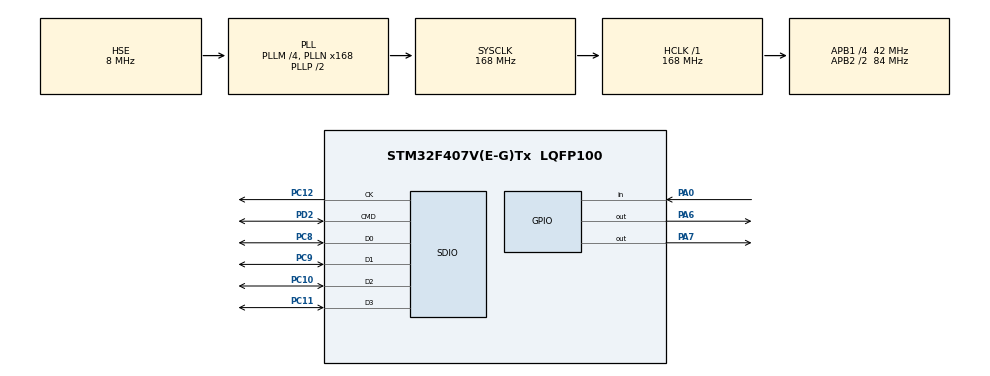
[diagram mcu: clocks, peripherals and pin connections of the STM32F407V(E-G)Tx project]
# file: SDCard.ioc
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FATFS.BSP.number=1
FATFS0.BSP.STBoard=false
FATFS0.BSP.api=Unknown
FATFS0.BSP.instance=PA0-WKUP
FATFS0.BSP.ip=GPIO
FATFS0.BSP.mode=Input
FATFS0.BSP.name=Detect_SDIO
FATFS0.BSP.solution=PA0-WKUP
Mcu.Family=STM32F4
Mcu.Name=STM32F407V(E-G)Tx
Mcu.Package=LQFP100
NVIC.PriorityGroup=NVIC_PRIORITYGROUP_4
NVIC.TIM4_IRQn=true\:0\:0\:false\:false\:true\:true\:true\:true
PA0-WKUP.GPIO_PuPd=GPIO_PULLDOWN
PA0-WKUP.Signal=GPIO_Input
PA13.Mode=JTAG_5_pins
PA13.Signal=SYS_JTMS-SWDIO
PA14.Mode=JTAG_5_pins
PA14.Signal=SYS_JTCK-SWCLK
PA15.Mode=JTAG_5_pins
PA15.Signal=SYS_JTDI
PA6.Signal=GPIO_Output
PA7.PinState=GPIO_PIN_SET
PA7.Signal=GPIO_Output
PB3.Mode=JTAG_5_pins
PB3.Signal=SYS_JTDO-SWO
PB4.Mode=JTAG_5_pins
PB4.Signal=SYS_JTRST
PC10.GPIO_PuPd=GPIO_PULLUP
PC10.GPIO_Speed_High_Default=GPIO_SPEED_FREQ_LOW
PC10.Mode=SD_4_bits_Wide_bus
PC10.Signal=SDIO_D2
PC11.GPIO_PuPd=GPIO_PULLUP
PC11.GPIO_Speed_High_Default=GPIO_SPEED_FREQ_LOW
PC11.Mode=SD_4_bits_Wide_bus
PC11.Signal=SDIO_D3
PC12.GPIO_PuPd=GPIO_NOPULL
PC12.GPIO_Speed_High_Default=GPIO_SPEED_FREQ_LOW
PC12.Mode=SD_4_bits_Wide_bus
PC12.Signal=SDIO_CK
PC8.GPIO_PuPd=GPIO_PULLUP
PC8.GPIO_Speed_High_Default=GPIO_SPEED_FREQ_LOW
PC8.Mode=SD_4_bits_Wide_bus
PC8.Signal=SDIO_D0
PC9.GPIO_PuPd=GPIO_PULLUP
PC9.GPIO_Speed_High_Default=GPIO_SPEED_FREQ_LOW
PC9.Mode=SD_4_bits_Wide_bus
PC9.Signal=SDIO_D1
PD2.GPIO_PuPd=GPIO_PULLUP
PD2.GPIO_Speed_High_Default=GPIO_SPEED_FREQ_LOW
PD2.Mode=SD_4_bits_Wide_bus
PD2.Signal=SDIO_CMD
PH0-OSC_IN.Mode=HSE-External-Oscillator
PH0-OSC_IN.Signal=RCC_OSC_IN
PH1-OSC_OUT.Mode=HSE-External-Oscillator
PH1-OSC_OUT.Signal=RCC_OSC_OUT
ProjectManager.HeapSize=0x400
ProjectManager.StackSize=0x800
ProjectManager.TargetToolchain=STM32CubeIDE
RCC.48MHZClocksFreq_Value=48000000
RCC.AHBFreq_Value=168000000
RCC.APB1CLKDivider=RCC_HCLK_DIV4
RCC.APB1Freq_Value=42000000
RCC.APB1TimFreq_Value=84000000
RCC.APB2CLKDivider=RCC_HCLK_DIV2
RCC.APB2Freq_Value=84000000
RCC.APB2TimFreq_Value=168000000
RCC.CortexFreq_Value=168000000
RCC.HCLKFreq_Value=168000000
RCC.HSE_VALUE=8000000
RCC.HSI_VALUE=16000000
RCC.LSE_VALUE=32768
RCC.PLLM=4
RCC.PLLN=168
RCC.PLLQ=7
RCC.PLLSourceVirtual=RCC_PLLSOURCE_HSE
RCC.SYSCLKFreq_VALUE=168000000
RCC.SYSCLKSource=RCC_SYSCLKSOURCE_PLLCLK
RCC.VCOOutputFreq_Value=336000000
TIM4.Period=5000-1
TIM4.Prescaler=16800
VP_FATFS_VS_SDIO.Mode=SDIO
VP_TIM4_VS_ClockSourceINT.Mode=Internal
board=custom

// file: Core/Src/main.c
/* USER CODE BEGIN Header */
/**
  ******************************************************************************
  * @file           : main.c
  * @brief          : Main program body
  ******************************************************************************
  * @attention
  *
  * Copyright (c) 2025 STMicroelectronics.
  * All rights reserved.
  *
  * This software is licensed under terms that can be found in the LICENSE file
  * in the root directory of this software component.
  * If no LICENSE file comes with this software, it is provided AS-IS.
  *
  ******************************************************************************
  */
/* USER CODE END Header */
#include "main.h"
#include "fatfs.h"

SD_HandleTypeDef hsd;

TIM_HandleTypeDef htim4;

void SystemClock_Config(void);
static void MX_GPIO_Init(void);
static void MX_SDIO_SD_Init(void);
static void MX_TIM4_Init(void);
/* USER CODE BEGIN PFP */
void init();
void loop();
/* USER CODE END PFP */

/* USER CODE BEGIN 0 */
void init()
{
	HAL_TIM_Base_Start_IT(&htim4);

	FATFS SDFatFs;
	char USER_Path[4] = "/";
	if (f_mount(&SDFatFs, (TCHAR const*)USER_Path, 1) != FR_OK)
	{
		HAL_GPIO_WritePin(GPIOA, GPIO_PIN_7, GPIO_PIN_RESET);
//		display_SmallPrint(0,7,"Error mount");
	}
	else
	{
//		display_SmallPrint(0,7,"OK mount");
		FATFS_UnLinkDriver(USER_Path);
	}

	HAL_Delay(500);
//	char str[32] = {0,};
	FRESULT res;
	FIL MyFile;
	const char wtext[] = "STM32F407 write file";
	uint32_t byteswritten;
	if ((res = f_open(&MyFile, "STM32wri.txt", FA_CREATE_ALWAYS | FA_WRITE)) != FR_OK)
	{
		HAL_GPIO_WritePin(GPIOA, GPIO_PIN_7, GPIO_PIN_RESET);
//		sprintf(str, "Error open wr %d", res);
	}
	else
	{
		res = f_write(&MyFile, wtext, sizeof(wtext), (void *)&byteswritten);
		if ((byteswritten == 0) || (res != FR_OK))
		{
			HAL_GPIO_WritePin(GPIOA, GPIO_PIN_7, GPIO_PIN_RESET);
//			display_SmallPrint(0,7,"Error write");
		}
		else
		{
			HAL_GPIO_WritePin(GPIOA, GPIO_PIN_7, GPIO_PIN_RESET);
			HAL_Delay(250);
			HAL_GPIO_WritePin(GPIOA, GPIO_PIN_7, GPIO_PIN_SET);
			HAL_Delay(250);
			HAL_GPIO_WritePin(GPIOA, GPIO_PIN_7, GPIO_PIN_RESET);
			HAL_Delay(250);
			HAL_GPIO_WritePin(GPIOA, GPIO_PIN_7, GPIO_PIN_SET);
		}
		f_close(&MyFile);
	}

	return;
}

void loop()
{
	return;
}
/* USER CODE END 0 */

int main(void)
{

  /* MCU Configuration--------------------------------------------------------*/

  /* Reset of all peripherals, Initializes the Flash interface and the Systick. */
  HAL_Init();

  /* Configure the system clock */
  SystemClock_Config();

  /* Initialize all configured peripherals */
  MX_GPIO_Init();
  MX_SDIO_SD_Init();
  MX_FATFS_Init();
  MX_TIM4_Init();
  /* USER CODE BEGIN 2 */
  init();
  /* USER CODE END 2 */

  /* Infinite loop */
  /* USER CODE BEGIN WHILE */
  while (1)
  {
	loop();
    /* USER CODE END WHILE */

  }
}

void SystemClock_Config(void)
{
  RCC_OscInitTypeDef RCC_OscInitStruct = {0};
  RCC_ClkInitTypeDef RCC_ClkInitStruct = {0};

  /** Configure the main internal regulator output voltage
  */
  __HAL_RCC_PWR_CLK_ENABLE();
  __HAL_PWR_VOLTAGESCALING_CONFIG(PWR_REGULATOR_VOLTAGE_SCALE1);

  /** Initializes the RCC Oscillators according to the specified parameters
  * in the RCC_OscInitTypeDef structure.
  */
  RCC_OscInitStruct.OscillatorType = RCC_OSCILLATORTYPE_HSE;
  RCC_OscInitStruct.HSEState = RCC_HSE_ON;
  RCC_OscInitStruct.PLL.PLLState = RCC_PLL_ON;
  RCC_OscInitStruct.PLL.PLLSource = RCC_PLLSOURCE_HSE;
  RCC_OscInitStruct.PLL.PLLM = 4;
  RCC_OscInitStruct.PLL.PLLN = 168;
  RCC_OscInitStruct.PLL.PLLP = RCC_PLLP_DIV2;
  RCC_OscInitStruct.PLL.PLLQ = 7;
  if (HAL_RCC_OscConfig(&RCC_OscInitStruct) != HAL_OK)
  {
    Error_Handler();
  }

  /** Initializes the CPU, AHB and APB buses clocks
  */
  RCC_ClkInitStruct.ClockType = RCC_CLOCKTYPE_HCLK|RCC_CLOCKTYPE_SYSCLK
                              |RCC_CLOCKTYPE_PCLK1|RCC_CLOCKTYPE_PCLK2;
  RCC_ClkInitStruct.SYSCLKSource = RCC_SYSCLKSOURCE_PLLCLK;
  RCC_ClkInitStruct.AHBCLKDivider = RCC_SYSCLK_DIV1;
  RCC_ClkInitStruct.APB1CLKDivider = RCC_HCLK_DIV4;
  RCC_ClkInitStruct.APB2CLKDivider = RCC_HCLK_DIV2;

  if (HAL_RCC_ClockConfig(&RCC_ClkInitStruct, FLASH_LATENCY_5) != HAL_OK)
  {
    Error_Handler();
  }
}

static void MX_SDIO_SD_Init(void)
{

  hsd.Instance = SDIO;
  hsd.Init.ClockEdge = SDIO_CLOCK_EDGE_RISING;
  hsd.Init.ClockBypass = SDIO_CLOCK_BYPASS_DISABLE;
  hsd.Init.ClockPowerSave = SDIO_CLOCK_POWER_SAVE_DISABLE;
  hsd.Init.BusWide = SDIO_BUS_WIDE_1B;
  hsd.Init.HardwareFlowControl = SDIO_HARDWARE_FLOW_CONTROL_DISABLE;
  hsd.Init.ClockDiv = 0;

}

static void MX_TIM4_Init(void)
{

  TIM_ClockConfigTypeDef sClockSourceConfig = {0};
  TIM_MasterConfigTypeDef sMasterConfig = {0};

  htim4.Instance = TIM4;
  htim4.Init.Prescaler = 16800;
  htim4.Init.CounterMode = TIM_COUNTERMODE_UP;
  htim4.Init.Period = 5000-1;
  htim4.Init.ClockDivision = TIM_CLOCKDIVISION_DIV1;
  htim4.Init.AutoReloadPreload = TIM_AUTORELOAD_PRELOAD_DISABLE;
  if (HAL_TIM_Base_Init(&htim4) != HAL_OK)
  {
    Error_Handler();
  }
  sClockSourceConfig.ClockSource = TIM_CLOCKSOURCE_INTERNAL;
  if (HAL_TIM_ConfigClockSource(&htim4, &sClockSourceConfig) != HAL_OK)
  {
    Error_Handler();
  }
  sMasterConfig.MasterOutputTrigger = TIM_TRGO_RESET;
  sMasterConfig.MasterSlaveMode = TIM_MASTERSLAVEMODE_DISABLE;
  if (HAL_TIMEx_MasterConfigSynchronization(&htim4, &sMasterConfig) != HAL_OK)
  {
    Error_Handler();
  }

}

static void MX_GPIO_Init(void)
{
  GPIO_InitTypeDef GPIO_InitStruct = {0};

  /* GPIO Ports Clock Enable */
  __HAL_RCC_GPIOH_CLK_ENABLE();
  __HAL_RCC_GPIOA_CLK_ENABLE();
  __HAL_RCC_GPIOC_CLK_ENABLE();
  __HAL_RCC_GPIOD_CLK_ENABLE();
  __HAL_RCC_GPIOB_CLK_ENABLE();

  /*Configure GPIO pin Output Level */
  HAL_GPIO_WritePin(GPIOA, GPIO_PIN_6, GPIO_PIN_RESET);

  /*Configure GPIO pin Output Level */
  HAL_GPIO_WritePin(GPIOA, GPIO_PIN_7, GPIO_PIN_SET);

  /*Configure GPIO pin : PA0 */
  GPIO_InitStruct.Pin = GPIO_PIN_0;
  GPIO_InitStruct.Mode = GPIO_MODE_INPUT;
  GPIO_InitStruct.Pull = GPIO_PULLDOWN;
  HAL_GPIO_Init(GPIOA, &GPIO_InitStruct);

  /*Configure GPIO pins : PA6 PA7 */
  GPIO_InitStruct.Pin = GPIO_PIN_6|GPIO_PIN_7;
  GPIO_InitStruct.Mode = GPIO_MODE_OUTPUT_PP;
  GPIO_InitStruct.Pull = GPIO_NOPULL;
  GPIO_InitStruct.Speed = GPIO_SPEED_FREQ_LOW;
  HAL_GPIO_Init(GPIOA, &GPIO_InitStruct);

}

/* USER CODE BEGIN 4 */
void HAL_TIM_PeriodElapsedCallback(TIM_HandleTypeDef *htim)
{
  if (htim->Instance == TIM4)
  {
	HAL_GPIO_TogglePin(GPIOA, GPIO_PIN_6);
  }
}
/* USER CODE END 4 */

void Error_Handler(void)
{
  __disable_irq();
  while (1)
  {
  }
}
